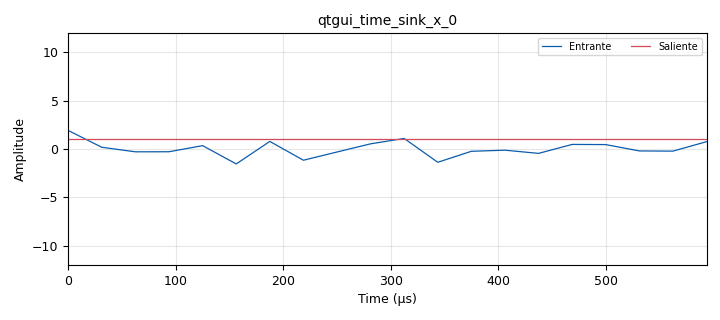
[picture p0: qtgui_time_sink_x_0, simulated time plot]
options:
  parameters:
    author: Bryan
    copyright: UIS
    description: ejemplo de un acumulador
    generate_options: qt_gui
    id: miprimer
    output_language: python
    title: miprimer
  states: {}

blocks:
- name: samp_rate
  id: variable
  parameters:
    value: '32000'
  states: {}
- name: analog_noise_source_x_0
  id: analog_noise_source_x
  parameters:
    amp: '1'
    noise_type: analog.GR_GAUSSIAN
    seed: '0'
    type: float
  states: {}
- name: blocks_multiply_xx_0
  id: blocks_multiply_xx
  parameters:
    type: float
  states: {}
- name: blocks_rms_xx_0
  id: blocks_rms_xx
  parameters:
    alpha: '0.0001'
    type: float
  states: {state: disabled}
- name: epy_block_0
  id: epy_block
  parameters:
    _source_code: "import numpy as np\nfrom gnuradio import gr\n\n\nclass blk(gr.sync_block):  \n    \n\n    def __init__(self,):  \n        \"\"\"Bloque acumulador simplemente toma la senal entrante y entrega acumulada\"\"\"\n        gr.sync_block.__init__(\n            self,\n            name='Promedio_tiempo',   \n            in_sig=[np.float32],\n            out_sig=[np.float32]\n        )\n        self.acum_anterior=0\n        self.Ntotal=0\n        \n    def work(self, input_items, output_items):\n        x=input_items[0]\n        y=output_items[0]\n        N=len(x)\n        self.Ntotal += N\n        Acumulado=self.acum_anterior+np.cumsum(x)\n        self.acum_anterior=Acumulado[-1]\n        y[:]=Acumulado/self.Ntotal\n        return len(x)\n        \n\n"
  states: {}
- name: epy_block_0_0
  id: epy_block
  parameters:
    _source_code: "import numpy as np\nfrom gnuradio import gr\nimport math\n\nclass blk(gr.sync_block):  \n    \n\n    def __init__(self,):  \n        \"\"\"Bloque raiz\"\"\"\n        gr.sync_block.__init__(\n            self,\n            name='raiz_cuadrada',   \n            in_sig=[np.float32],\n            out_sig=[np.float32]\n        )\n        \n    def work(self, input_items, output_items):\n        x=input_items[0]\n        y=output_items[0]\n        y[:]=np.sqrt(x)\n        return len(x)\n        \n\n"
  states: {}
- name: misfunciones
  id: epy_module
  parameters:
    source_code: |
      # this module will be imported in the into your flowgraph
      import math
      def raizcuadrada(a):
          return math.sqrt(a)
  states: {}
- name: qtgui_number_sink_0
  id: qtgui_number_sink
  parameters:
    graph_type: qtgui.NUM_GRAPH_HORIZ
    name: '"VRMS:"'
    type: float
  states: {}
- name: qtgui_time_sink_x_0
  id: qtgui_time_sink_x
  parameters:
    label1: Entrante
    label2: Saliente
    nconnections: '2'
    size: '20'
    srate: samp_rate
    type: float
    width1: '4'
    width2: '2'
    ymax: '12'
    ymin: '-12'
  states: {}

connections:
- [analog_noise_source_x_0, '0', blocks_multiply_xx_0, '0']
- [analog_noise_source_x_0, '0', blocks_multiply_xx_0, '1']
- [analog_noise_source_x_0, '0', blocks_rms_xx_0, '0']
- [analog_noise_source_x_0, '0', qtgui_time_sink_x_0, '0']
- [blocks_multiply_xx_0, '0', epy_block_0, '0']
- [blocks_rms_xx_0, '0', qtgui_number_sink_0, '0']
- [blocks_rms_xx_0, '0', qtgui_time_sink_x_0, '1']
- [epy_block_0, '0', epy_block_0_0, '0']
- [epy_block_0_0, '0', qtgui_number_sink_0, '0']
- [epy_block_0_0, '0', qtgui_time_sink_x_0, '1']

metadata:
  file_format: 1
